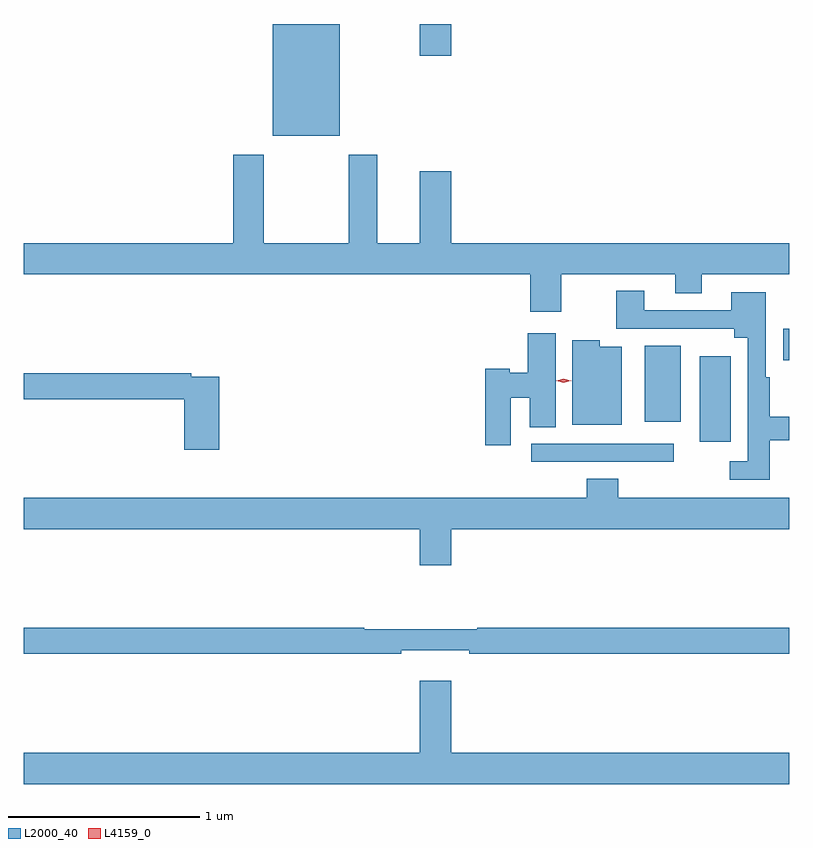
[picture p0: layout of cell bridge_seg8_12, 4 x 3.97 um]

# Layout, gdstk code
import gdstk
lib = gdstk.Library(unit=1e-6, precision=1e-09)
def R(c, l, rs):  # rectangles x0, y0, x1, y1
    for r in rs: c.add(gdstk.rectangle(r[:2], r[2:], *l))
def P(c, l, *ps):  # polygons
    for p in ps: c.add(gdstk.Polygon(p, *l))
L2000_40 = (2000, 40)
L4159_0 = (4159, 0)

bridge_seg8_12 = lib.new_cell('bridge_seg8_12')
R(bridge_seg8_12, L2000_40, [(980.775,1128.84,981.52,1128.936), (981.656,1128.945,981.817,1129.393), (981.368,1129.049,981.556,1129.447), (982.092,1129.372,982.123,1129.537), (979.424,1130.546,979.774,1131.129), (980.192,1130.964,980.356,1131.129)])
P(bridge_seg8_12, L2000_40, [(980.931,1129.82),(981.527,1129.82),(981.527,1129.721),(981.667,1129.721),(981.667,1129.82),(982.123,1129.82),(982.123,1129.984),(980.356,1129.984),(980.356,1130.359),(980.192,1130.359),(980.192,1129.984),(979.969,1129.984),(979.969,1130.446),(979.822,1130.446),(979.822,1129.984),(979.377,1129.984),(979.377,1130.446),(979.217,1130.446),(979.217,1129.984),(978.123,1129.984),(978.123,1129.82),(980.771,1129.82),(980.771,1129.626),(980.931,1129.626)],
  [(982.022,1128.954),(982.123,1128.954),(982.123,1129.075),(982.022,1129.075),(982.022,1129.283),(982.002,1129.283),(982.002,1129.726),(981.821,1129.726),(981.821,1129.632),(981.367,1129.632),(981.367,1129.735),(981.22,1129.735),(981.22,1129.536),(981.836,1129.536),(981.836,1129.49),(981.906,1129.49),(981.906,1128.843),(981.813,1128.843),(981.813,1128.747),(982.022,1128.747)],
  [(980.668,1129.175),(980.768,1129.175),(980.768,1129.021),(980.902,1129.021),(980.902,1129.513),(980.756,1129.513),(980.756,1129.305),(980.664,1129.305),(980.664,1129.328),(980.534,1129.328),(980.534,1128.927),(980.668,1128.927)],
  [(981.247,1129.441),(981.133,1129.441),(981.133,1129.477),(980.99,1129.477),(980.99,1129.034),(981.247,1129.034)],
  [(979.145,1129.284),(978.998,1129.284),(978.998,1129.304),(978.123,1129.304),(978.123,1129.168),(978.962,1129.168),(978.962,1128.903),(979.145,1128.903)],
  [(980.356,1128.488),(982.123,1128.488),(982.123,1128.652),(981.23,1128.652),(981.23,1128.751),(981.065,1128.751),(981.065,1128.652),(978.123,1128.652),(978.123,1128.488),(980.192,1128.488),(980.192,1128.3),(980.356,1128.3)],
  [(980.096,1127.855),(980.452,1127.855),(980.452,1127.836),(982.123,1127.836),(982.123,1127.972),(980.492,1127.972),(980.492,1127.965),(979.901,1127.965),(979.901,1127.972),(978.123,1127.972),(978.123,1127.836),(980.096,1127.836)],
  [(982.123,1127.32),(980.356,1127.32),(980.356,1127.695),(980.192,1127.695),(980.192,1127.32),(978.123,1127.32),(978.123,1127.156),(982.123,1127.156)])
P(bridge_seg8_12, L4159_0, [(980.944,1129.254),(980.907,1129.264),(980.906,1129.264),(980.907,1129.265),(980.944,1129.274),(980.982,1129.265),(980.983,1129.264),(980.982,1129.264)])

lib.write_gds('bridge_seg8_12.gds')
